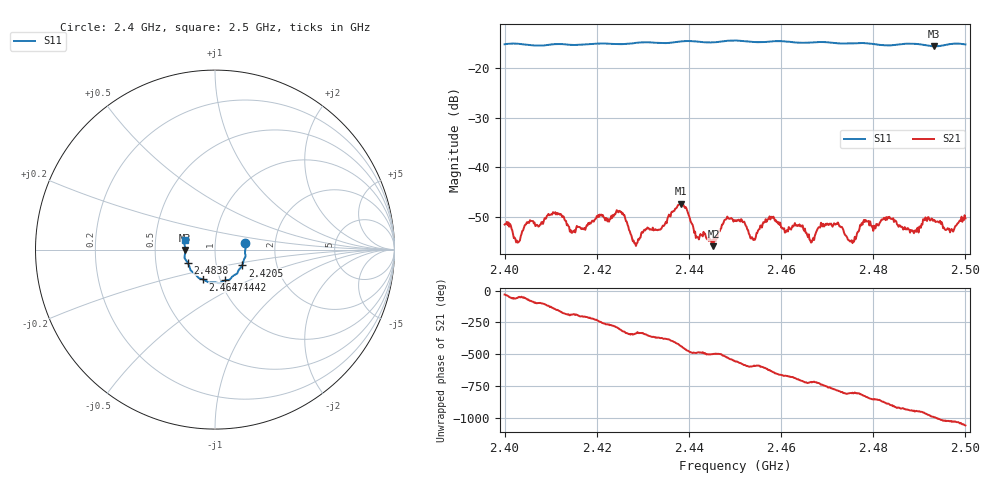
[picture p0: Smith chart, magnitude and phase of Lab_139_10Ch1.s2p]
# Hz S RI R 50
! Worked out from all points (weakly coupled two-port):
!   601 points, 2.4 GHz to 2.5 GHz, reference 50 ohm
!   highest |S21| = -47.32 dB at 2.4383 GHz (marker M1); lowest = -55.8 dB at 2.4453 GHz (marker M2)
!   lowest |S11| = -15.6 dB at 2.4932 GHz (marker M3), VSWR 1.40, Z = 35.8 - j0.168 ohm
!   |S11| at or under -10 dB: start of sweep to end of sweep
!   S12 and S22 are empty: the file has one direction only
!   S11 on the Smith chart (normalised r, x): 2.4 GHz: 1.40, +0.11; 2.4205 GHz: 1.33, -0.24; 2.4442 GHz: 1.05, -0.37; 2.4647 GHz: 0.83, -0.29; 2.4838 GHz: 0.73, -0.11; 2.5 GHz: 0.71, +0.08
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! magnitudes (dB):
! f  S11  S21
! 2.4 GHz  -15.2  -51.5
! 2.4028 GHz  -15.1  -55.1
! 2.4105 GHz  -15.2  -49.0
! 2.4167 GHz  -15.3  -52.4
! 2.4205 GHz  -15.1  -49.9
! 2.4253 GHz  -15.2  -48.9
! 2.4283 GHz  -15.0  -55.3
! 2.4333 GHz  -15.0  -52.5
! 2.4383 GHz  -14.7  -47.3
! 2.4442 GHz  -14.9  -54.2
! 2.4453 GHz  -14.8  -55.8
! 2.45 GHz  -14.5  -50.8
! 2.4538 GHz  -14.8  -54.3
! 2.4578 GHz  -14.7  -50.0
! 2.4647 GHz  -14.9  -51.7
! 2.4667 GHz  -14.9  -55.0
! 2.472 GHz  -15.0  -51.3
! 2.4753 GHz  -15.1  -54.7
! 2.4833 GHz  -15.5  -50.1
! 2.4838 GHz  -15.4  -50.4
! 2.4932 GHz  -15.6  -50.6
! 2.5 GHz  -15.2  -50.3
